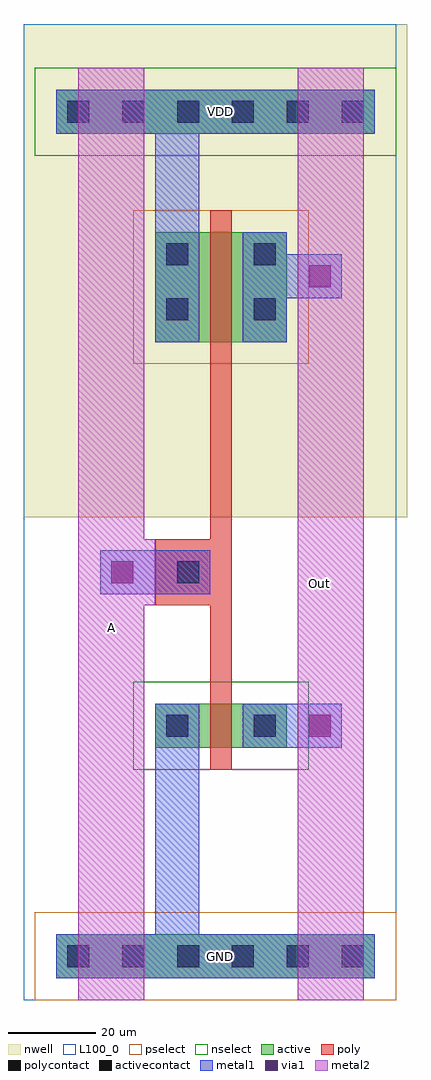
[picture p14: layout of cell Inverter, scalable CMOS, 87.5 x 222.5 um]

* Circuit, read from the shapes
.subckt Inverter A GND Out VDD
M1 Out A GND GND nfet w=10u l=5u
M2 Out A VDD VDD pfet w=25u l=5u
.ends

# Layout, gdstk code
import gdstk
lib = gdstk.Library(unit=1e-6, precision=1e-09)
def R(c, l, rs):  # rectangles x0, y0, x1, y1
    for r in rs: c.add(gdstk.rectangle(r[:2], r[2:], *l))
def A(c, l, x, y, w, h, nx, ny, dx, dy):  # array of equal rectangles
    R(c, l, [(x+i*dx, y+j*dy, x+i*dx+w, y+j*dy+h) for i in range(nx) for j in range(ny)])
nwell = (42, 0)
active = (43, 0)
pselect = (44, 0)
nselect = (45, 0)
poly = (46, 0)
polycontact = (47, 0)
activecontact = (48, 0)
metal1 = (49, 0)
via1 = (50, 0)
metal2 = (51, 0)
L100_0 = (100, 0)

inverter = lib.new_cell('Inverter')
R(inverter, nwell, [(0,110,87.5,112.5), (0,112.5,87.5,215), (7.5,112.5,80,190), (0,190,87.5,215), (0,215,87.5,222.5)])
R(inverter, active, [(7.5,5,80,15), (30,57.5,60,67.5), (30,150,60,175), (7.5,197.5,80,207.5)])
R(inverter, pselect, [(2.5,0,85,20), (25,145,65,180)])
R(inverter, nselect, [(25,52.5,65,72.5), (2.5,192.5,85,212.5)])
R(inverter, poly, [(42.5,52.5,47.5,90), (30,90,47.5,105), (42.5,105,47.5,180)])
R(inverter, polycontact, [(35,95,40,100)])
A(inverter, activecontact, 10, 7.5, 5, 5, 6, 2, 12.5, 192.5)
R(inverter, activecontact, [(32.5,60,37.5,65), (52.5,60,57.5,65), (32.5,155,37.5,160), (52.5,155,57.5,160), (32.5,167.5,37.5,172.5), (52.5,167.5,57.5,172.5)])
R(inverter, metal1, [(7.5,5,80,15), (30,15,40,67.5), (50,57.5,72.5,67.5), (17.5,92.5,42.5,102.5), (30,150,40,197.5), (50,150,60,160), (50,160,72.5,170), (50,170,60,175), (7.5,197.5,80,207.5)])
R(inverter, via1, [(65,60,70,65), (20,95,25,100), (65,162.5,70,167.5)])
R(inverter, metal2, [(12.5,0,27.5,90), (62.5,0,77.5,212.5), (12.5,90,30,105), (12.5,105,27.5,212.5)])
R(inverter, L100_0, [(0,0,85,222.5)])
inverter.add(gdstk.Label('VDD', (45,202.5), layer=49, texttype=1))
inverter.add(gdstk.Label('GND', (45,10), layer=49, texttype=1))
inverter.add(gdstk.Label('A', (20,85), layer=51, texttype=1))
inverter.add(gdstk.Label('Out', (67.5,95), layer=51, texttype=1))

lib.write_gds('Inverter.gds')
